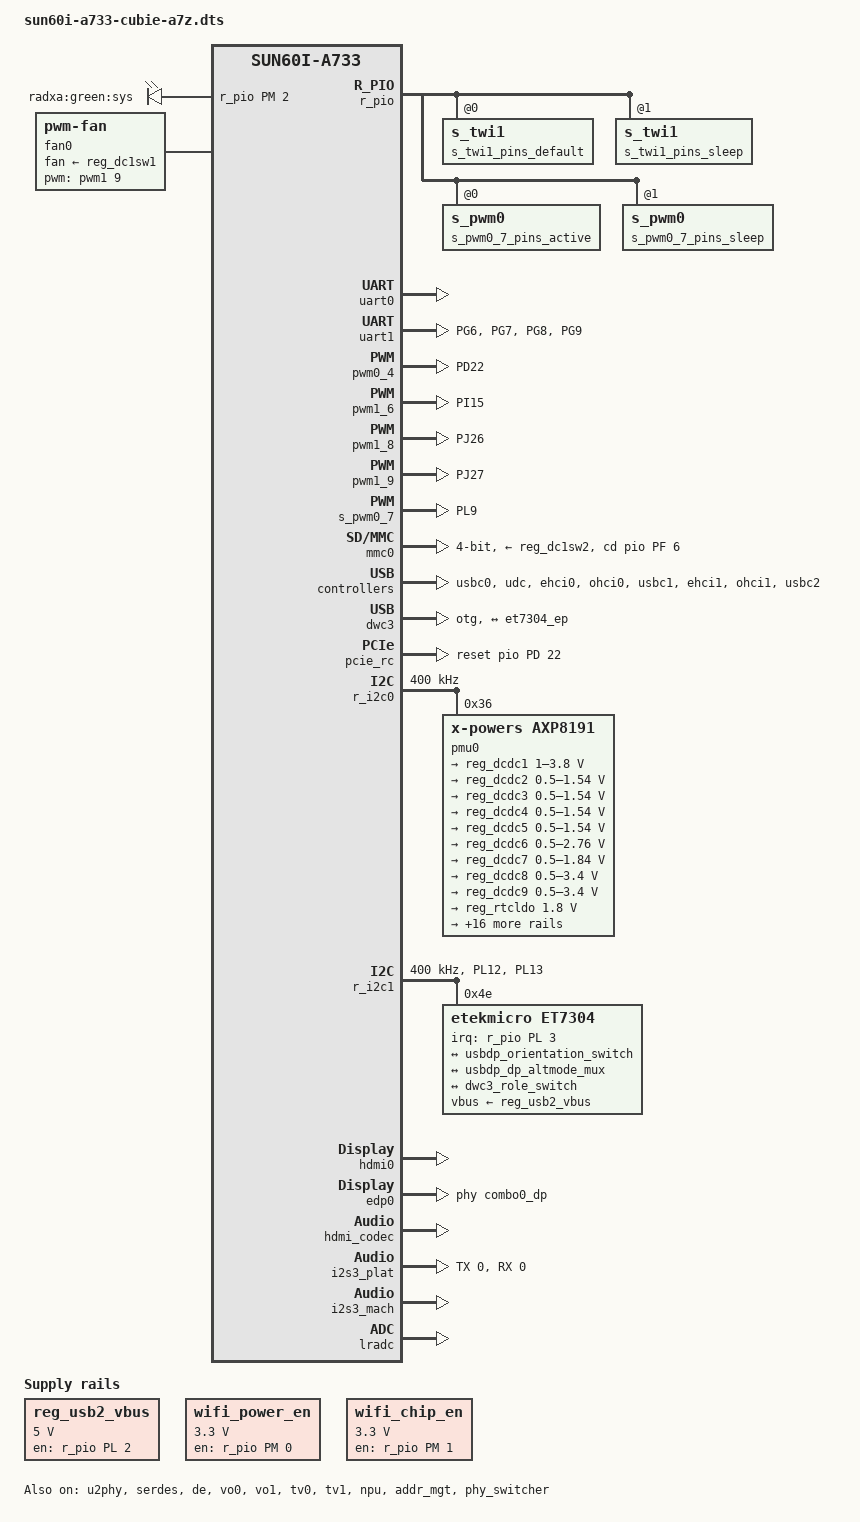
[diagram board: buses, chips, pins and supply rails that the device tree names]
// SPDX-License-Identifier: (GPL-2.0+ or MIT)

/dts-v1/;

#include "sun60iw2p1.dtsi"

/{
	board = "A733", "A733-CUBIE-A7Z-AXP318";
	compatible = "radxa,a733", "radxa,cubie-a7z", "arm,sun60iw2p1", "allwinner,sun60i-a733";

	reg_usb2_vbus: usb2-vbus {
		compatible = "regulator-fixed";
		regulator-name = "usb2-vbus";
		regulator-min-microvolt = <5000000>;
		regulator-max-microvolt = <5000000>;
		regulator-enable-ramp-delay = <1000>;
		gpio = <&r_pio PL 2 GPIO_ACTIVE_HIGH>;
		enable-active-high;
	};

	wifi_power_en: wifi_power_en {
		compatible = "regulator-fixed";
		regulator-name = "wifi_power_en";
		regulator-min-microvolt = <3300000>;
		regulator-max-microvolt = <3300000>;
		regulator-enable-ramp-delay = <1000>;
		gpio = <&r_pio PM 0 GPIO_ACTIVE_HIGH>;
		enable-active-high;
		regulator-always-on;
		regulator-boot-on;
	};

	wifi_chip_en: wifi_chip_en {
		compatible = "regulator-fixed";
		regulator-name = "wifi_chip_en";
		regulator-min-microvolt = <3300000>;
		regulator-max-microvolt = <3300000>;
		regulator-enable-ramp-delay = <1000>;
		gpio = <&r_pio PM 1 GPIO_ACTIVE_HIGH>;
		enable-active-high;
		regulator-always-on;
		regulator-boot-on;
	};

	leds {
		compatible = "gpio-leds";

		led-0 {
			label = "radxa:green:sys";
			gpios = <&r_pio PM 2 GPIO_ACTIVE_HIGH>;
			linux,default-trigger = "heartbeat";
		};
	};

	fan0: pwm-fan {
		compatible = "pwm-fan";
		#cooling-cells = <2>;
		cooling-levels = <1 50 102 170 255>;
		fan-supply = <&reg_dc1sw1>;
		pwms = <&pwm1 9 25000 0>;
	};

	phy_switcher: phy_switcher@10 {
		compatible = "allwinner,sunxi-phy-switcher";
		reg = <0x0 0x10 0x0 0x0>;
		// aux_p = <&r_pio PL 12 GPIO_ACTIVE_HIGH>;
		// aux_n = <&r_pio PL 13 GPIO_ACTIVE_HIGH>;
		phys = <&combo0_dp>, <&combo0_usb>;
		phy-names = "dp-phy", "usb-phy";
		// usb_psy = <&reg_usb2_vbus>;
		dp_configure_delay = <50>;

		status = "okay";

		mode-switch;
		orientation-switch;
		svid = <0xff01>;
		port {
			#address-cells = <1>;
			#size-cells = <0>;
			usbdp_orientation_switch: endpoint@0 {
				reg = <0>;
				remote-endpoint = <&usbc2_orien_sw>;
			};
			usbdp_dp_altmode_mux: endpoint@1 {
				reg = <1>;
				remote-endpoint = <&dp_altmode_mux>;
			};
		};
	};
};

&ccu {
	clk-init-gate = <1>;
};

&pio {
	gpio-line-names =
	/* PA */
	"", "", "", "",
	"", "", "", "",
	"", "", "", "",
	"", "", "", "",
	"", "", "", "",
	"", "", "", "",
	"", "", "", "",
	"", "", "", "",
	/* PB */
	"PIN_7", "PIN_11", "PIN_29", "PIN_31",
	"PIN_36", "PIN_12", "PIN_35", "PIN_40",
	"PIN_38", "PIN_8", "PIN_10", "",
	"", "", "", "",
	"", "", "", "",
	"", "", "", "",
	"", "", "", "",
	"", "", "", "",
	/* PC */
	"", "", "", "",
	"", "", "", "",
	"", "", "", "",
	"", "", "", "",
	"", "", "", "",
	"", "", "", "",
	"", "", "", "",
	"", "", "", "",
	/* PD */
	"", "", "", "",
	"", "", "", "",
	"", "", "PIN_24", "PIN_23",
	"PIN_19", "PIN_21", "PIN_26", "",
	"PIN_28", "PIN_27", "", "",
	"", "", "", "",
	"", "", "", "",
	"", "", "", "",
	/* PE */
	"", "", "", "",
	"", "", "", "",
	"", "", "", "",
	"", "", "", "",
	"", "", "", "",
	"", "", "", "",
	"", "", "", "",
	"", "", "", "",
	/* PF */
	"", "", "", "",
	"", "", "", "",
	"", "", "", "",
	"", "", "", "",
	"", "", "", "",
	"", "", "", "",
	"", "", "", "",
	"", "", "", "",
	/* PG */
	"", "", "", "",
	"", "", "", "",
	"", "", "", "",
	"", "", "", "",
	"", "", "", "",
	"", "", "", "",
	"", "", "", "",
	"", "", "", "",
	/* PH */
	"", "", "", "",
	"", "", "", "",
	"", "", "", "",
	"", "", "", "",
	"", "", "", "",
	"", "", "", "",
	"", "", "", "",
	"", "", "", "",
	/* PI */
	"", "", "", "",
	"", "", "", "",
	"", "", "", "",
	"", "", "", "",
	"", "", "", "",
	"", "", "", "",
	"", "", "", "",
	"", "", "", "",
	/* PJ */
	"", "", "", "",
	"", "", "", "",
	"", "", "", "",
	"", "", "", "",
	"", "", "", "",
	"", "", "PIN_5", "PIN_3",
	"PIN_16", "PIN_18", "", "",
	"", "", "", "",
	/* PK */
	"", "", "", "",
	"", "", "", "",
	"", "", "", "",
	"", "", "", "",
	"", "", "", "",
	"", "", "", "",
	"", "", "", "",
	"", "", "", "";

	// uart0_pins_active: uart0_pins@0 {
	// 	pins = "", "";
	// 	function = "uart0";
	// 	drive-strength = <10>;
	// };

	// uart0_pins_sleep: uart0_pins@1 {
	// 	pins = "", "";
	// 	function = "gpio_in";
	// 	drive-strength = <10>;
	// };

	uart1_pins_active: uart1_pins@0 {
		pins = "PG6", "PG7", "PG8", "PG9";
		function = "uart1";
		drive-strength = <10>;
	};

	uart1_pins_sleep: uart1_pins@1 {
		pins = "PG6", "PG7", "PG8", "PG9";
		function = "io_disabled";
		drive-strength = <10>;
	};

	uart2_pins_active: uart2_pins@0 {
		pins = "PB0", "PB1", "PB2", "PB3";
		function = "uart2";
		drive-strength = <10>;
	};

	uart2_pins_sleep: uart2_pins@1 {
		pins = "PB0", "PB1", "PB2", "PB3";
		function = "io_disabled";
		drive-strength = <10>;
	};

	uart3_pins_active: uart3_pins@0 {
		pins = "PI1", "PI12";
		function = "uart3";
		drive-strength = <10>;
	};

	uart3_pins_sleep: uart3_pins@1 {
		pins = "PI11", "PI12";
		function = "io_disabled";
		drive-strength = <10>;
	};

	uart5_pins_active: uart5_pins@0 {
		pins = "", "";
		function = "uart5";
		drive-strength = <10>;
	};

	uart5_pins_sleep: uart5_pins@1 {
		pins = "", "";
		function = "io_disabled";
		drive-strength = <10>;
	};

	uart6_pins_active: uart6_pins@0 {
		pins = "PI6", "PI7";
		function = "uart6";
		drive-strength = <10>;
	};

	uart6_pins_sleep: uart6_pins@1 {
		pins = "PI6", "PI7";
		function = "io_disabled";
		drive-strength = <10>;
	};

	uart7_pins_active: uart7_pins@0 {
		pins = "PB11", "PB12", "PB13", "PB14";
		function = "uart7";
		drive-strength = <10>;
	};

	uart7_pins_sleep: uart7_pins@1 {
		pins = "PB11", "PB12", "PB13", "PB14";
		function = "io_disabled";
		drive-strength = <10>;
	};

	pwm0_4_pins_active: pwm0@0 {
		pins = "PD22";
		function = "pwm0_4";
		drive-strength = <10>;
	};

	pwm0_4_pins_sleep: pwm0@1 {
		pins = "PD22";
		function = "gpio_in";
		bias-pull-down;
	};

	pwm1_8_pins_active: pwm1@0 {
		pins = "PJ26";
		function = "pwm1_8";
		drive-strength = <10>;
	};

	pwm1_8_pins_sleep: pwm1@1 {
		pins = "PJ26";
		function = "gpio_in";
		bias-pull-down;
	};

	pwm1_9_pins_active: pwm1@0 {
		pins = "PJ27";
		function = "pwm1_9";
		drive-strength = <10>;
	};

	pwm1_9_pins_sleep: pwm1@1 {
		pins = "PJ27";
		function = "gpio_in";
		bias-pull-down;
	};

	pwm1_6_pins_active: pwm6@0 {
		pins = "PI15";
		function = "pwm1_6";
		drive-strength = <10>;
	};

	pwm1_6_pins_sleep: pwm6@1 {
		pins = "PI15";
		function = "gpio_in";
		bias-pull-down;
	};

	/* i2s0 pins */
	i2s0_pins_a: i2s0@0 {
		pins = "PB4";
		function = "i2s0_mclk";
		allwinner,drive = <1>;
		bias-disable;
	};

	i2s0_pins_b: i2s0@1 {
		pins = "PB5";
		function = "i2s0_bclk";
		allwinner,drive = <1>;
		bias-disable;
	};

	i2s0_pins_c: i2s0@2 {
		pins = "PB6";
		function = "i2s0_lrck";
		allwinner,drive = <1>;
		bias-disable;
	};

	i2s0_pins_e: i2s0@4 {
		pins = "PB7";
		function = "i2s0_dout0";
		allwinner,drive = <1>;
		bias-pull-down;
	};

	i2s0_pins_d: i2s0@3 {
		pins = "PB8";
		function = "i2s0_din0";
		allwinner,drive = <1>;
		bias-pull-down;
	};

	i2s0_pins_f: i2s0@5 {
		pins = "PB4", "PB5", "PB6", "PB7", "PB8";
		function = "io_disabled";
		allwinner,drive = <1>;
		bias-disable;
	};

	/* i2s1 pins */
	i2s1_pins_a: i2s1@0 {
		pins = "PG10";
		function = "i2s1_mclk";
		allwinner,drive = <1>;
		bias-disable;
	};

	i2s1_pins_b: i2s1@1 {
		pins = "PG11";
		function = "i2s1_bclk";
		allwinner,drive = <1>;
		bias-disable;
	};

	i2s1_pins_c: i2s1@2 {
		pins = "PG12";
		function = "i2s1_lrck";
		allwinner,drive = <1>;
		bias-disable;
	};

	i2s1_pins_d: i2s1@3 {
		pins = "PG13";
		function = "i2s1_din1";
		allwinner,drive = <1>;
		bias-disable;
	};

	i2s1_pins_e: i2s1@4 {
		pins = "PG14";
		function = "i2s1_dout1";
		allwinner,drive = <1>;
		bias-disable;
	};

	i2s1_pins_f: i2s1@5 {
		pins = "PG10", "PG11", "PG12", "PG13", "PG14";
		function = "io_disabled";
		allwinner,drive = <1>;
		bias-disable;
	};

	/* i2s2 pins */
	i2s2_pins_b: i2s2@1 {
		pins = "PH3";
		function = "i2s2_bclk";
		allwinner,drive = <1>;
		bias-disable;
	};

	i2s2_pins_c: i2s2@2 {
		pins = "PH4";
		function = "i2s2_lrck";
		allwinner,drive = <1>;
		bias-disable;
	};

	i2s2_pins_d: i2s2@3 {
		pins = "PH6";
		function = "i2s2_din0";
		allwinner,drive = <1>;
		bias-disable;
	};

	i2s2_pins_e: i2s2@4 {
		pins = "PH5";
		function = "i2s2_dout0";
		allwinner,drive = <1>;
		bias-disable;
	};

	i2s2_pins_f: i2s2@5 {
		pins = "PH3", "PH4", "PH5", "PH6";
		function = "io_disabled";
		allwinner,drive = <1>;
		bias-disable;
	};

	/* i2s4 pins */
	i2s4_pins_a: i2s4@0 {
		pins = "PJ17";
		function = "i2s4_mclk";
		allwinner,drive = <1>;
		bias-disable;
	};

	i2s4_pins_b: i2s4@1 {
		pins = "PJ16";
		function = "i2s4_bclk";
		allwinner,drive = <1>;
		bias-disable;
	};

	i2s4_pins_c: i2s4@2 {
		pins = "PJ18";
		function = "i2s4_lrck";
		allwinner,drive = <1>;
		bias-disable;
	};

	i2s4_pins_d: i2s4@3 {
		pins = "PJ19";
		function = "i2s4_din0";
		allwinner,drive = <1>;
		bias-pull-down;
	};

	i2s4_pins_f: i2s4@5 {
		pins = "PJ16", "PJ17", "PJ18", "PJ19";
		function = "io_disabled";
		allwinner,drive = <1>;
		bias-disable;
	};

	owa_pins_a: owa@0 {
		pins = "PI10";
		function = "owa0";
		allwinner,drive = <1>;
		bias-disable;
	};

	owa_pins_b: owa@1 {
		pins = "PI10";
		function = "io_disabled";
		allwinner,drive = <1>;
		bias-disable;
	};

	gmac0_pins_default: gmac0@0 {
		pins = "PH0", "PH1", "PH2", "PH3", "PH4", "PH5", "PH6", "PH7",
			"PH8", "PH9", "PH10", "PH11", "PH12","PH13", "PH14", "PH15";
		function = "rgmii0";
		allwinner,drive = <1>;
		bias-pull-up;
	};

	gmac0_pins_sleep: gmac0@1 {
		pins = "PH0", "PH1", "PH2", "PH3", "PH4", "PH5", "PH6", "PH7",
			"PH8", "PH9", "PH10", "PH11", "PH12","PH13", "PH14", "PH15";
		function = "io_disabled";
	};

	spi0_pins_default: spi0@0 {
		pins = "PC12", "PC2", "PC4"; /* clk, mosi, miso */
		function = "spi0";
		allwinner,drive = <1>;
		//drive-strength = <20>;
	};

	spi0_pins_cs: spi0@1 {
		pins = "PC3"; /* cs */
		function = "spi0";
		allwinner,drive = <1>;
		//drive-strength = <20>;
		bias-pull-up;
	};

	spi0_pins_sleep: spi0@2 {
		pins = "PC12", "PC2", "PC4", "PC3";
		function = "io_disabled";
	};
};

&r_pio {
	gpio-line-names =
	/* PL */
	"", "", "", "",
	"", "PIN_22", "PIN_13", "PIN_15",
	"", "", "", "",
	"", "", "", "",
	"", "", "", "",
	"", "", "", "",
	"", "", "", "",
	"", "", "", "",
	/* PM */
	"", "", "", "PIN_33",
	"PIN_37", "PIN_32", "", "",
	"", "", "", "",
	"", "", "", "",
	"", "", "", "",
	"", "", "", "",
	"", "", "", "",
	"", "", "", "",
	/* PN */
	"", "", "", "",
	"", "", "", "",
	"", "", "", "",
	"", "", "", "",
	"", "", "", "",
	"", "", "", "",
	"", "", "", "",
	"", "", "", "";

	s_twi1_pins_default: s_twi1@0 {
		pins = "PL12", "PL13";
		function = "s_twi1";
		drive-strength = <30>;
		//bias-pull-up;
	};

	s_twi1_pins_sleep: s_twi1@1 {
		pins = "PL12", "PL13";
		function = "gpio_in";
	};

	s_pwm0_7_pins_active:s_pwm0@0 {
		pins = "PL9";
		function = "s_pwm0_7";
		drive-strength = <10>;
	};

	s_pwm0_7_pins_sleep:s_pwm0@1 {
		pins = "PL9";
		function = "gpio_in";
		bias-pull-down;
	};
};

&uart0 {
	// pinctrl-names = "default", "sleep";
	// pinctrl-0 = <&uart0_pins_active>;
	// pinctrl-1 = <&uart0_pins_sleep>;
	status = "okay";
};

&uart1 {
	pinctrl-names = "default", "sleep";
	pinctrl-0 = <&uart1_pins_active>;
	pinctrl-1 = <&uart1_pins_sleep>;
	status = "okay";
};

&uart2 {
	pinctrl-names = "default", "sleep";
	pinctrl-0 = <&uart2_pins_active>;
	pinctrl-1 = <&uart2_pins_sleep>;
	status = "disabled";
};

&uart3 {
	pinctrl-names = "default", "sleep";
	pinctrl-0 = <&uart3_pins_active>;
	pinctrl-1 = <&uart3_pins_sleep>;
	status = "disabled";
};

&uart5 {
	pinctrl-names = "default", "sleep";
	pinctrl-0 = <&uart5_pins_active>;
	pinctrl-1 = <&uart5_pins_sleep>;
	status = "disabled";
};

&uart6 {
	pinctrl-names = "default", "sleep";
	pinctrl-0 = <&uart6_pins_active>;
	pinctrl-1 = <&uart6_pins_sleep>;
	status = "disabled";
};

&uart7 {
	pinctrl-names = "default", "sleep";
	pinctrl-0 = <&uart7_pins_active>;
	pinctrl-1 = <&uart7_pins_sleep>;
	status = "disabled";
};

&pwm0_4 {
	pinctrl-names = "active", "sleep";
	pinctrl-0 = <&pwm0_4_pins_active>;
	pinctrl-1 = <&pwm0_4_pins_sleep>;
	status = "okay";
};

&pwm1_6 {
	pinctrl-names = "active", "sleep";
	pinctrl-0 = <&pwm1_6_pins_active>;
	pinctrl-1 = <&pwm1_6_pins_sleep>;
	status = "okay";
};

&pwm1_8 {
	pinctrl-names = "active", "sleep";
	pinctrl-0 = <&pwm1_8_pins_active>;
	pinctrl-1 = <&pwm1_8_pins_sleep>;
	status = "okay";
};

&pwm1_9 {
	pinctrl-names = "active", "sleep";
	pinctrl-0 = <&pwm1_9_pins_active>;
	pinctrl-1 = <&pwm1_9_pins_sleep>;
	status = "okay";
};

&s_pwm0_7 {
	pinctrl-names = "active", "sleep";
	pinctrl-0 = <&s_pwm0_7_pins_active>;
	pinctrl-1 = <&s_pwm0_7_pins_sleep>;
	status = "okay";
};

&ddr_trips {
	fan_step0: trip-point@0 {
		temperature = <40000>;
		hysteresis = <2000>;
		type = "active";
	};

	fan_step1: trip-point@1 {
		temperature = <45000>;
		hysteresis = <2000>;
		type = "active";
	};

	fan_step2: trip-point@2 {
		temperature = <50000>;
		hysteresis = <2000>;
		type = "active";
	};

	fan_step3: trip-point@3 {
		temperature = <55000>;
		hysteresis = <5000>;
		type = "active";
	};
};

&ddr_thermal_zone {
	polling-delay-passive = <100>;
	polling-delay = <1000>;

	cooling-maps {
		map0 {
			trip = <&fan_step0>;
			cooling-device = <&fan0 0 1>;
		};

		map1 {
			trip = <&fan_step1>;
			cooling-device = <&fan0 1 2>;
		};

		map2 {
			trip = <&fan_step2>;
			cooling-device = <&fan0 2 3>;
		};

		map3 {
			trip = <&fan_step3>;
			cooling-device = <&fan0 3 4>;
		};
	};
};

&mmc0 {
	cd-gpios = <&pio PF 6 (GPIO_ACTIVE_HIGH | GPIO_PULL_DOWN)>;
	bus-width = <4>;
	sd-uhs-sdr50;
	sd-uhs-ddr50;
	sd-uhs-sdr104;
	no-sdio;
	no-mmc;
	vmmc-supply = <&reg_dc1sw2>;
	vqmmc-supply = <&reg_cldo5>;
	max-frequency = <200000000>;
	status = "okay";
};

// &sdc0 {
// 	bus-width = <4>;
// 	cd-gpios = <&pio PF 6 (GPIO_ACTIVE_HIGH | GPIO_PULL_DOWN)>;
// 	/*non-removable;*/
// 	/*broken-cd;*/
// 	/*cd-inverted;*/
// 	/*data3-detect;*/
// 	/*card-pwr-gpios = <&pio PH 14 1 1 2 0xffffffff>;*/
// 	cd-used-24M;
// 	sd-uhs-sdr50;
// 	sd-uhs-ddr50;
// 	sd-uhs-sdr104;
// 	no-sdio;
// 	no-mmc;
// 	sunxi-power-save-mode;
// 	/*sunxi-dis-signal-vol-sw;*/
// 	max-frequency = <200000000>;
// 	ctl-spec-caps = <0x428>;
// 	vmmc-supply = <&reg_dc1sw2>;
// 	vqmmc-supply = <&reg_cldo5>;
// 	vqmmc33sw-supply = <&reg_dc1sw2>;
// 	vdmmc33sw-supply = <&reg_dc1sw2>;
// 	vqmmc18sw-supply = <&reg_cldo5>;
// 	vdmmc18sw-supply = <&reg_cldo5>;
// 	status = "okay";
// };

&ufs {
	vcc-supply = <&reg_dldo6>;
	vccq-supply = <&reg_dcdc8>;
	vccq2-supply = <&reg_dcdc8>;
	status = "disabled";
};

/*
 * usb_port_type: usb mode. 0-device, 1-host, 2-otg.
 * usb_detect_type: usb hotplug detect mode. 0-none, 1-vbus/id detect, 2-pmu detect, 3-tcpm detect.
 * usb_detect_mode: 0-thread scan, 1-id gpio interrupt, 2-pmu notify.
 * usb_id_gpio: gpio for id detect.
 * usb_det_vbus_gpio: gpio for id detect. gpio or "axp_ctrl".
 * usb_wakeup_suspend：0-SUPER_STANDBY, 1-USB_STANDBY.
 */
&usbc0 {
	device_type = "usbc0";
	usb_port_type = <1>;
	// usb_detect_type = <0x3>;
	usb_detect_type = <2>;
	usb_detect_mode = <2>;
	// usb_id_gpio;
	// enable-active-high;
	usb_det_vbus_gpio = "axp_ctrl";
	// enable-active-high;
	detvbus_io-supply = <&reg_cldo1>;
	usb_regulator_io = "nocare";
	usb_wakeup_suspend = <0>;
	usb_luns = <3>;
	usb_serial_unique = <0>;
	usb_serial_number = "20080411";
	rndis_wceis = <1>;
	status = "okay";
};

&udc {
	phy_range = <0x188>;
	status = "okay";
};

&ehci0 {
	phy_range = <0x188>;
	status = "okay";
};

&ohci0 {
	phy_range = <0x188>;
	status = "okay";
};

&usbc1 {
	device_type = "usbc1";
	usb_regulator_io = "nocare";
	usb_wakeup_suspend = <0>;
	status = "okay";
};

&ehci1 {
	phy_range = <0x188>;
	status = "okay";
};

&ohci1 {
	phy_range = <0x188>;
	status = "okay";
};

&usbc2 {
	status = "okay";
};

&dwc3 {
	dr_mode = "otg"; //dr_mode option: host, peripheral, otg
	status = "okay";

	usb-role-switch;
	role-switch-default-mode = "host";

	port {
		#address-cells = <1>;
		#size-cells = <0>;

		dwc3_role_switch: endpoint@0 {
			reg = <0>;
			remote-endpoint = <&et7304_ep>;
		};
	};
};

&u2phy {
	status = "okay";
};

&serdes {
	serdes1v8-supply = <&reg_cldo5>;
	status = "okay";
	combophy0: combo-phy0@6c01000 {
		lane_invert = <1 1 1 1>;
		lane_remap = <0 1 2 3>;
		typec_remap = <2 3 0 1>;
	};
};

&pcie_rc {
	power-gpios = <&pio PD 20 GPIO_ACTIVE_HIGH>;
	reset-gpios = <&pio PD 22 GPIO_ACTIVE_HIGH>;
	wake-gpios = <&pio PD 21 GPIO_ACTIVE_HIGH>;
	pcie1v8-supply = <&reg_bldo1>;
	pcie3v3-supply = <&reg_dcdc1>;
	status = "okay";
};

&r_i2c0 {
	clock-frequency = <400000>;
	status = "okay";

	pmu0: pmu@36 {
		compatible = "x-powers,axp8191";
		reg = <0x36>;
		status = "okay";
		interrupts = <0 IRQ_TYPE_LEVEL_LOW>;
		interrupt-parent = <&nmi_intc>;
		pmu_irq_wakeup = <1>;
		pmu_hot_shutdown = <1>;

		powerkey1: powerkey@1 {
			compatible = "x-powers,axp2101-pek";
			status = "okay";
			pmu_powkey_off_en = <1>;
			pmu_powkey_off_func = <1>;
			pmu_powkey_off_time = <8000>;
			pmu_powkey_long_time = <1500>;
			pmu_powkey_on_time = <1000>;
			wakeup_rising;
			wakeup_falling;
		};

		regulator0: regulators@0 {
			reg_dcdc1: dcdc1 {
				regulator-name = "axp8191-dcdc1";
				regulator-min-microvolt = <1000000>;
				regulator-max-microvolt = <3800000>;
				regulator-enable-ramp-delay = <1000>;
				regulator-ramp-delay = <250>;
				regulator-boot-on;
				regulator-always-on;
			};
			reg_dcdc2: dcdc2 {
				regulator-name = "axp8191-dcdc2";
				regulator-min-microvolt = <500000>;
				regulator-max-microvolt = <1540000>;
				regulator-ramp-delay = <250>;
				regulator-enable-ramp-delay = <1000>;
				regulator-boot-on;
				regulator-always-on;
			};
			reg_dcdc3: dcdc3 {
				regulator-name = "axp8191-dcdc3";
				regulator-min-microvolt = <500000>;
				regulator-max-microvolt = <1540000>;
				regulator-ramp-delay = <250>;
				regulator-enable-ramp-delay = <1000>;
				regulator-boot-on;
				regulator-always-on;
			};
			reg_dcdc4: dcdc4 {
				regulator-name = "axp8191-dcdc4";
				regulator-min-microvolt = <500000>;
				regulator-max-microvolt = <1540000>;
				regulator-ramp-delay = <250>;
				regulator-enable-ramp-delay = <1000>;
				regulator-boot-on;
				regulator-always-on;
			};
			reg_dcdc5: dcdc5 {
				regulator-name = "axp8191-dcdc5";
				regulator-min-microvolt = <500000>;
				regulator-max-microvolt = <1540000>;
				regulator-ramp-delay = <250>;
				regulator-enable-ramp-delay = <1000>;
				regulator-boot-on;
				regulator-always-on;
			};
			reg_dcdc6: dcdc6 {
				regulator-name = "axp8191-dcdc6";
				regulator-min-microvolt = <500000>;
				regulator-max-microvolt = <2760000>;
				regulator-ramp-delay = <250>;
				regulator-enable-ramp-delay = <1000>;
				regulator-boot-on;
				regulator-always-on;
			};
			reg_dcdc7: dcdc7 {
				regulator-name = "axp8191-dcdc7";
				regulator-min-microvolt = <500000>;
				regulator-max-microvolt = <1840000>;
				regulator-ramp-delay = <250>;
				regulator-enable-ramp-delay = <1000>;
				regulator-boot-on;
				regulator-always-on;
			};
			reg_dcdc8: dcdc8 {
				regulator-name = "axp8191-dcdc8";
				regulator-min-microvolt = <500000>;
				regulator-max-microvolt = <3400000>;
				regulator-ramp-delay = <250>;
				regulator-enable-ramp-delay = <1000>;
				regulator-boot-on;
				regulator-always-on;
			};
			reg_dcdc9: dcdc9 {
				regulator-name = "axp8191-dcdc9";
				regulator-min-microvolt = <500000>;
				regulator-max-microvolt = <3400000>;
				regulator-ramp-delay = <250>;
				regulator-enable-ramp-delay = <1000>;
				regulator-boot-on;
				regulator-always-on;
			};
			reg_rtcldo: rtcldo {
				/* RTC_LDO is a fixed, always-on regulator */
				regulator-name = "axp8191-rtcldo";
				regulator-min-microvolt = <1800000>;
				regulator-max-microvolt = <1800000>;
				regulator-boot-on;
				regulator-always-on;
			};
			reg_aldo1: aldo1 {
				regulator-name = "axp8191-aldo1";
				regulator-min-microvolt = <500000>;
				regulator-max-microvolt = <3400000>;
				regulator-enable-ramp-delay = <1000>;
				regulator-boot-on;
				regulator-always-on;
			};
			reg_aldo2: aldo2 {
				/* not connected */
				// regulator-name = "axp8191-aldo2";
				// regulator-min-microvolt = <500000>;
				// regulator-max-microvolt = <3400000>;
				// regulator-enable-ramp-delay = <1000>;
			};
			reg_aldo3: aldo3 {
				/* not connected */
				// regulator-name = "axp8191-aldo3";
				// regulator-min-microvolt = <500000>;
				// regulator-max-microvolt = <3400000>;
				// regulator-enable-ramp-delay = <1000>;
			};
			reg_aldo4: aldo4 {
				/* not connected */
				// regulator-name = "axp8191-aldo4";
				// regulator-min-microvolt = <500000>;
				// regulator-max-microvolt = <3400000>;
				// regulator-enable-ramp-delay = <1000>;
			};
			reg_aldo5: aldo5 {
				regulator-name = "axp8191-aldo5";
				regulator-min-microvolt = <500000>;
				regulator-max-microvolt = <3400000>;
				regulator-enable-ramp-delay = <1000>;
			};
			reg_aldo6: aldo6 {
				/* not connected */
				// regulator-name = "axp8191-aldo6";
				// regulator-min-microvolt = <500000>;
				// regulator-max-microvolt = <3400000>;
				// regulator-enable-ramp-delay = <1000>;
			};
			reg_bldo1: bldo1 {
				regulator-name = "axp8191-bldo1";
				regulator-min-microvolt = <500000>;
				regulator-max-microvolt = <3400000>;
				regulator-enable-ramp-delay = <1000>;
			};
			reg_bldo2: bldo2 {
				regulator-name = "axp8191-bldo2";
				regulator-min-microvolt = <500000>;
				regulator-max-microvolt = <3400000>;
				regulator-enable-ramp-delay = <1000>;
			};
			reg_bldo3: bldo3 {
				/* not connected */
				// regulator-name = "axp8191-bldo3";
				// regulator-min-microvolt = <500000>;
				// regulator-max-microvolt = <3400000>;
				// regulator-enable-ramp-delay = <1000>;
			};
			reg_bldo4: bldo4 {
				regulator-name = "axp8191-bldo4";
				regulator-min-microvolt = <500000>;
				regulator-max-microvolt = <3400000>;
				regulator-enable-ramp-delay = <1000>;
			};
			reg_bldo5: bldo5 {
				regulator-name = "axp8191-bldo5";
				regulator-min-microvolt = <500000>;
				regulator-max-microvolt = <3400000>;
				regulator-enable-ramp-delay = <1000>;
			};
			reg_cldo1: cldo1 {
				regulator-name = "axp8191-cldo1";
				regulator-min-microvolt = <500000>;
				regulator-max-microvolt = <3500000>;
				regulator-enable-ramp-delay = <1000>;
				regulator-boot-on;
				regulator-always-on;
			};
			reg_cldo2: cldo2 {
				regulator-name = "axp8191-cldo2";
				regulator-min-microvolt = <500000>;
				regulator-max-microvolt = <3500000>;
				regulator-enable-ramp-delay = <1000>;
			};
			reg_cldo3: cldo3 {
				regulator-name = "axp8191-cldo3";
				regulator-min-microvolt = <500000>;
				regulator-max-microvolt = <3500000>;
				regulator-enable-ramp-delay = <1000>;
				regulator-boot-on;
				regulator-always-on;
			};
			reg_cldo4: cldo4 {
				/* not connected */
				// regulator-name = "axp8191-cldo4";
				// regulator-min-microvolt = <500000>;
				// regulator-max-microvolt = <3500000>;
				// regulator-enable-ramp-delay = <1000>;
			};
			reg_cldo5: cldo5 {
				regulator-name = "axp8191-cldo5";
				regulator-min-microvolt = <500000>;
				regulator-max-microvolt = <3400000>;
				regulator-enable-ramp-delay = <1000>;
				regulator-boot-on;
				regulator-always-on;
			};
			reg_dldo1: dldo1 {
				regulator-name = "axp8191-dldo1";
				regulator-min-microvolt = <500000>;
				regulator-max-microvolt = <3400000>;
				regulator-enable-ramp-delay = <1000>;
				regulator-boot-on;
				regulator-always-on;
			};
			reg_dldo2: dldo2 {
				/* not connected */
				// regulator-name = "axp8191-dldo2";
				// regulator-min-microvolt = <500000>;
				// regulator-max-microvolt = <3400000>;
				// regulator-enable-ramp-delay = <1000>;
			};
			reg_dldo3: dldo3 {
				/* not connected */
				// regulator-name = "axp8191-dldo3";
				// regulator-min-microvolt = <500000>;
				// regulator-max-microvolt = <3400000>;
				// regulator-enable-ramp-delay = <1000>;
			};
			reg_dldo4: dldo4 {
				/* not connected */
				// regulator-name = "axp8191-dldo4";
				// regulator-min-microvolt = <500000>;
				// regulator-max-microvolt = <3400000>;
				// regulator-enable-ramp-delay = <1000>;
			};
			reg_dldo5: dldo5 {
				/* not connected */
				// regulator-name = "axp8191-dldo5";
				// regulator-min-microvolt = <500000>;
				// regulator-max-microvolt = <3400000>;
				// regulator-enable-ramp-delay = <1000>;
			};
			reg_dldo6: dldo6 {
				regulator-name = "axp8191-dldo6";
				regulator-min-microvolt = <500000>;
				regulator-max-microvolt = <3400000>;
				regulator-enable-ramp-delay = <1000>;
				regulator-boot-on;
				regulator-always-on;
			};
			reg_eldo1: eldo1 {
				regulator-name = "axp8191-eldo1";
				regulator-min-microvolt = <500000>;
				regulator-max-microvolt = <3400000>;
				regulator-enable-ramp-delay = <1000>;
				regulator-boot-on;
				regulator-always-on;
			};
			reg_eldo2: eldo2 {
				/* not connected */
				// regulator-name = "axp8191-eldo2";
				// regulator-min-microvolt = <500000>;
				// regulator-max-microvolt = <3400000>;
				// regulator-enable-ramp-delay = <1000>;
				// regulator-boot-on;
				// regulator-always-on;
			};
			reg_eldo3: eldo3 {
				/* not connected */
				// regulator-name = "axp8191-eldo3";
				// regulator-min-microvolt = <500000>;
				// regulator-max-microvolt = <3400000>;
				// regulator-enable-ramp-delay = <1000>;
			};
			reg_eldo4: eldo4 {
				/* not connected */
				// regulator-name = "axp8191-eldo4";
				// regulator-min-microvolt = <500000>;
				// regulator-max-microvolt = <3400000>;
				// regulator-enable-ramp-delay = <1000>;
			};
			reg_eldo5: eldo5 {
				/* not connected */
				// regulator-name = "axp8191-eldo5";
				// regulator-min-microvolt = <500000>;
				// regulator-max-microvolt = <3400000>;
				// regulator-enable-ramp-delay = <1000>;
			};
			reg_eldo6: eldo6 {
				regulator-name = "axp8191-eldo6";
				regulator-min-microvolt = <500000>;
				regulator-max-microvolt = <3400000>;
				regulator-enable-ramp-delay = <1000>;
				regulator-always-on;
				regulator-boot-on;
			};
			reg_dc1sw1: dc1sw1 {
				regulator-name = "axp8191-dc1sw1";
				swin-supply = <&reg_dcdc1>;
				regulator-boot-on;
				regulator-state-mem {
					regulator-off-in-suspend;
				};
			};
			reg_dc1sw2: dc1sw2 {
				regulator-name = "axp8191-dc1sw2";
				swin-supply = <&reg_dcdc1>;
				/* add always-on */
				regulator-always-on;
			};
		};
	};
};

&r_i2c1 {
	clock-frequency = <400000>;
	pinctrl-0 = <&s_twi1_pins_default>;
	pinctrl-1 = <&s_twi1_pins_sleep>;
	pinctrl-names = "default", "sleep";
	status = "okay";

	et7304: et7304@4e {
		compatible = "etekmicro,et7304", "richtek,rt1715";
		reg = <0x4e>;
		status = "okay";
		interrupt-parent = <&r_pio>;
		interrupts = <PL 3 IRQ_TYPE_LEVEL_LOW>;
		vbus-supply = <&reg_usb2_vbus>;

		usb_con: connector {
			compatible = "usb-c-connector";
			label = "USB-C";
			data-role = "dual";
			power-role = "dual";
			op-sink-microwatt = <1000000>;
			typec-power-opmode = "default";
			slow-charger-loop;
			source-pdos = < PDO_FIXED(5000, 500, PDO_FIXED_DUAL_ROLE | PDO_FIXED_DATA_SWAP)
							PDO_VAR(5000, 5000, 1200) >;

			sink-pdos = < PDO_FIXED(5000, 500, PDO_FIXED_DUAL_ROLE | PDO_FIXED_DATA_SWAP)
						 PDO_VAR(5000, 5000, 2000)
						 /* PDO_VAR(9000, 9000, 2000)
						 PDO_VAR(12000, 12000, 3000)
						 PDO_VAR(15000, 15000, 3000)
						 PDO_VAR(20000, 20000, 2250)*/
						>;
			/* ET7304 identity: VID 0x6dcf, PID 0x1711 */
			sink-vdos = <0xd1006dcf 0x00 0x17110000>;
			sink-vdos-v1 = <0xd1006dcf 0x00 0x17110000>;

			altmodes {
				displayport {
					svid = /bits/ 16 <0xff01>;
					vdo = <0xffffffff>;
				};
			};

			ports {
				#address-cells = <1>;
				#size-cells = <0>;

				port@0 {
					reg = <0>;
					usbc2_orien_sw: endpoint@0 {
						remote-endpoint = <&usbdp_orientation_switch>;
					};
				};
				port@1 {
					reg = <1>;
					dp_altmode_mux: endpoint@1 {
						remote-endpoint = <&usbdp_dp_altmode_mux>;
					};
				};
			};
		};
		port {
			#address-cells = <1>;
			#size-cells = <0>;

			et7304_ep: endpoint@0 {
				reg = <0>;
				remote-endpoint = <&dwc3_role_switch>;
			};
		};

	};
};

&de {
	assigned-clock-rates = <600000000>;
	chn_cfg_mode = <2>;
	status = "okay";
};

&vo0 {
	status = "okay";
};

&vo1 {
	status = "okay";
};

&tv0 {
	status = "okay";
};

&tv1 {
	status = "okay";
};

&hdmi0 {
	dcdc2-supply = <&reg_dcdc2>;
	cldo2-supply = <&reg_cldo2>;
	hdmi_power0 = "dcdc2";
	hdmi_power1 = "cldo2";
	hdmi_power_cnt = <2>;

	/*
	 * @hdmi_hdcp1x_enable: control hdcp1x function
	 *	- 1: enable hdcp1x
	 *	- 0: disable hdcp1x
	 * @hdmi_hdcp2x_enable: control hdcp2x function
	 *	- 1: enable hdcp2x
	 *	- 0: disable hdcp2x
	 * @hdmi_cec_enable: control cec function
	 *	- 1: enable cec function
	 *	- 0: disable cec function
	 * @hdmi_clock_source: select hdmi pixel clock source
	 *	- 1: from ccmu clock
	 *	- 0: from phypll clock
	 * @hdmi_resistor_select: select hdmi resistor config. Actual onboard config!!!
	 *	- 1: use onboard resistor
	 *	- 0: use onchip resisehci0 tor
	 * @hdmi_ddc_index: config hdmi ddc adapter index.
	 *	- index: ddc adapter index. don't conflict with TWI!
	 */
	hdmi_hdcp1x_enable = <1>;
	hdmi_hdcp2x_enable = <1>;
	hdmi_cec_enable = <1>;
	hdmi_clock_source = <0>;
	hdmi_resistor_select = <1>;
	hdmi_ddc_index = <20>;
	priority = <6>;

	/* match rule: min clk <= clock < max clk */
	snps_phy = <
		 25000 185625 0x0007 0x8160 0x8188
		185625 185625 0x0007 0x8160 0x8198
		185625 340000 0x0004 0x8040 0x8E85
		340000 600000 0x0000 0x80c0 0x82F6>;

	status = "okay";
};


&edp0 {
	#sound-dai-cells = <0>; /* audio driver match method arg */
	compatible = "allwinner,drm-dp";
	phys = <&combo0_dp>, <&aux_hpd_phy>;
	phy-names = "dp-phy", "aux-phy";
	sys = <&vo1>;

	edp_colordepth = <8>; /* 6/8/10/12/16 */
	edp_color_fmt = <0>;
	edp_ssc_en = <0>;
	edp_ssc_mode = <0>;

	edp_lane_rate = <2>;
	edp_lane_cnt = <4>;
	extcon = <&serdes>;

	status = "okay";
};

&cpu0 {
	cpu-supply = <&reg_dcdc5>;
};

&dsufreq {
	dsu-supply = <&reg_dcdc5>;
};

&cpu6 {
	cpu-supply = <&reg_dcdc3>;
};

&npu {
	npu-supply = <&reg_dcdc2>;
	status = "okay";
};

&addr_mgt {
	compatible     = "allwinner,sunxi-addr_mgt";
	type_addr_wifi = <0x0>;
	type_addr_bt   = <0x0>;
	type_addr_eth  = <0x0>;
	status         = "okay";
};

&hdmi_codec {
	extcon = <&hdmi0>;
	status = "okay";
};

&i2s3_plat {
	tdm-num		= <3>;
	tx-pin          = <0 1 2 3>;
	tx-pin0-map0    = <0x76543210>;
	tx-pin0-map1    = <0xFEDCBA98>;
	tx-pin1-map0    = <0x76543210>;
	tx-pin1-map1    = <0xFEDCBA98>;
	tx-pin2-map0    = <0x76543210>;
	tx-pin2-map1    = <0xFEDCBA98>;
	tx-pin3-map0    = <0x76543210>;
	tx-pin3-map1    = <0xFEDCBA98>;
	rx-pin		= <0>;

	tx-hub-en;
	rx-sync-en;
	/* hdmi: */
	dai-type = "hdmi";
	/* av:  */
	/* av not need dai-type */
	status		= "okay";
};

&i2s3_mach {
	soundcard-mach,format		= "i2s";
	soundcard-mach,frame-master	= <&i2s3_cpu>;
	soundcard-mach,bitclock-master	= <&i2s3_cpu>;
    soundcard-mach,playback-only;
	/* soundcard-mach,frame-inversion; */
	/* soundcard-mach,bitclock-inversion; */
	soundcard-mach,name = "allwinner-hdmi";
	soundcard-mach,slot-num		= <2>;
	soundcard-mach,slot-width	= <32>;
	status		= "okay";
	i2s3_cpu: soundcard-mach,cpu {
		sound-dai = <&i2s3_plat>;
		soundcard-mach,pll-fs	= <1>;
		soundcard-mach,mclk-fs	= <0>;
		/* av: */
		/* soundcard-mach,pll-fs	= <4>; */
		/* soundcard-mach,mclk-fs	= <512>; */
	};
	i2s3_codec: soundcard-mach,codec {
		/* hdmi: */
		sound-dai               = <&hdmi_codec>;
		/* av: */
		/* sound-dai               = <&edp0>; */
	};
};

&lradc {
	key_cnt = <5>;
	key0 = <210 115>;
	key1 = <410 114>;
	key2 = <590 139>;
	key3 = <750 28>;
	key4 = <880 172>;
	status = "okay";
};

// &gpadc0 {
// 	channel_num = <8>;
// 	channel_select = <0x0f>;
// 	channel_data_select = <0x0>;
// 	channel_compare_select = <0x0>;
// 	channel_cld_select = <0x0>;
// 	channel_chd_select = <0x0>;
// 	channel0_compare_lowdata = <1700000>;
// 	channel0_compare_higdata = <1200000>;
// 	channel1_compare_lowdata = <460000>;
// 	channel1_compare_higdata = <1200000>;
// 	status = "okay";
// };

&gpu  {
	gpu-supply = <&reg_dcdc4>;
};

&sid {
	sid-supply = <&reg_dldo1>;
	voltage = <1800>;
};
